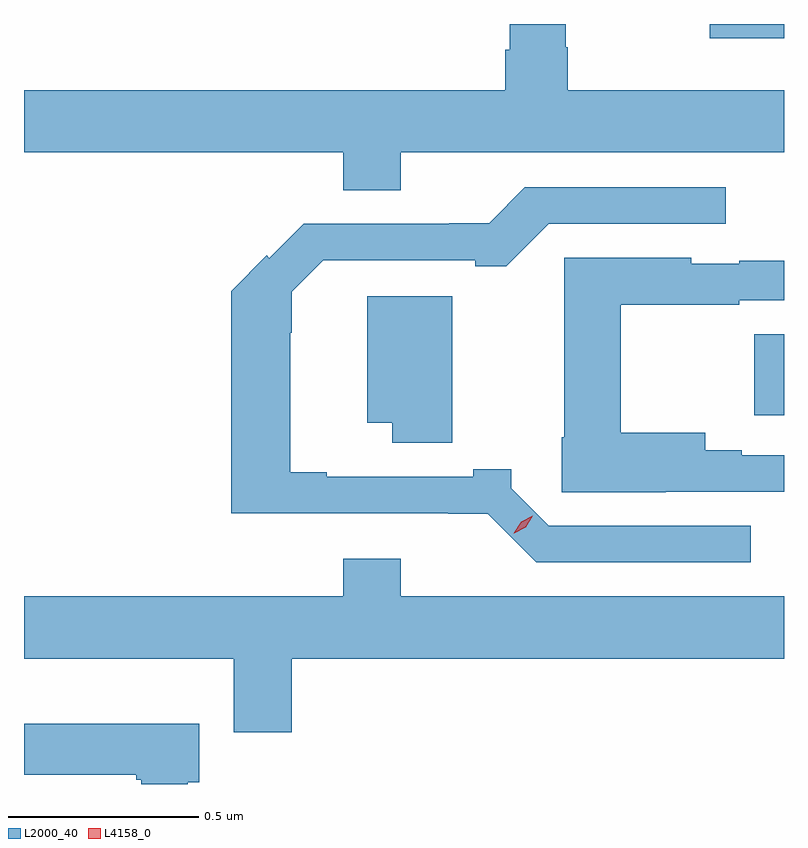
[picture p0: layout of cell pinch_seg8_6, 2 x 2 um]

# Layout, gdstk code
import gdstk
lib = gdstk.Library(unit=1e-6, precision=1e-09)
def R(c, l, rs):  # rectangles x0, y0, x1, y1
    for r in rs: c.add(gdstk.rectangle(r[:2], r[2:], *l))
def P(c, l, *ps):  # polygons
    for p in ps: c.add(gdstk.Polygon(p, *l))
L2000_40 = (2000, 40)
L4158_0 = (4158, 0)

pinch_seg8_6 = lib.new_cell('pinch_seg8_6')
R(pinch_seg8_6, L2000_40, [(1011.673,1123.8,1011.751,1124.014), (1011.555,1124.792,1011.751,1124.83)])
P(pinch_seg8_6, L2000_40, [(1010.743,1124.492),(1011.751,1124.492),(1011.751,1124.656),(1011.182,1124.656),(1011.182,1124.769),(1011.177,1124.769),(1011.177,1124.83),(1011.029,1124.83),(1011.029,1124.762),(1011.017,1124.762),(1011.017,1124.656),(1009.751,1124.656),(1009.751,1124.492),(1010.591,1124.492),(1010.591,1124.393),(1010.743,1124.393)],
  [(1011.664,1123.509),(1011.132,1123.509),(1011.033,1123.608),(1011.033,1123.658),(1010.933,1123.658),(1010.933,1123.638),(1010.548,1123.638),(1010.548,1123.651),(1010.452,1123.651),(1010.452,1124.018),(1010.455,1124.018),(1010.455,1124.125),(1010.538,1124.208),(1010.939,1124.208),(1010.939,1124.192),(1011.02,1124.192),(1011.132,1124.304),(1011.598,1124.304),(1011.598,1124.4),(1011.069,1124.4),(1010.975,1124.306),(1010.87,1124.306),(1010.87,1124.304),(1010.487,1124.304),(1010.397,1124.214),(1010.39,1124.221),(1010.297,1124.127),(1010.297,1123.542),(1010.867,1123.542),(1010.867,1123.541),(1010.972,1123.541),(1011.099,1123.413),(1011.664,1123.413)],
  [(1011.44,1123.599),(1011.751,1123.599),(1011.751,1123.695),(1011.64,1123.695),(1011.64,1123.708),(1011.544,1123.708),(1011.544,1123.755),(1011.321,1123.755),(1011.321,1124.091),(1011.633,1124.091),(1011.633,1124.103),(1011.751,1124.103),(1011.751,1124.207),(1011.633,1124.207),(1011.633,1124.199),(1011.507,1124.199),(1011.507,1124.215),(1011.173,1124.215),(1011.173,1123.743),(1011.166,1123.743),(1011.166,1123.598),(1011.44,1123.598)],
  [(1010.878,1124.113),(1010.654,1124.113),(1010.654,1123.781),(1010.72,1123.781),(1010.72,1123.728),(1010.878,1123.728)],
  [(1010.456,1123.16),(1011.751,1123.16),(1011.751,1123.324),(1010.743,1123.324),(1010.743,1123.423),(1010.591,1123.423),(1010.591,1123.324),(1009.751,1123.324),(1009.751,1123.16),(1010.303,1123.16),(1010.303,1122.966),(1010.456,1122.966)],
  [(1010.182,1122.834),(1010.212,1122.834),(1010.212,1122.988),(1009.751,1122.988),(1009.751,1122.854),(1010.047,1122.854),(1010.047,1122.841),(1010.06,1122.841),(1010.06,1122.83),(1010.182,1122.83)])
P(pinch_seg8_6, L4158_0, [(1011.04,1123.49),(1011.04,1123.49),(1011.059,1123.52),(1011.09,1123.536),(1011.09,1123.536),(1011.09,1123.536),(1011.072,1123.506),(1011.041,1123.49)])

lib.write_gds('pinch_seg8_6.gds')
